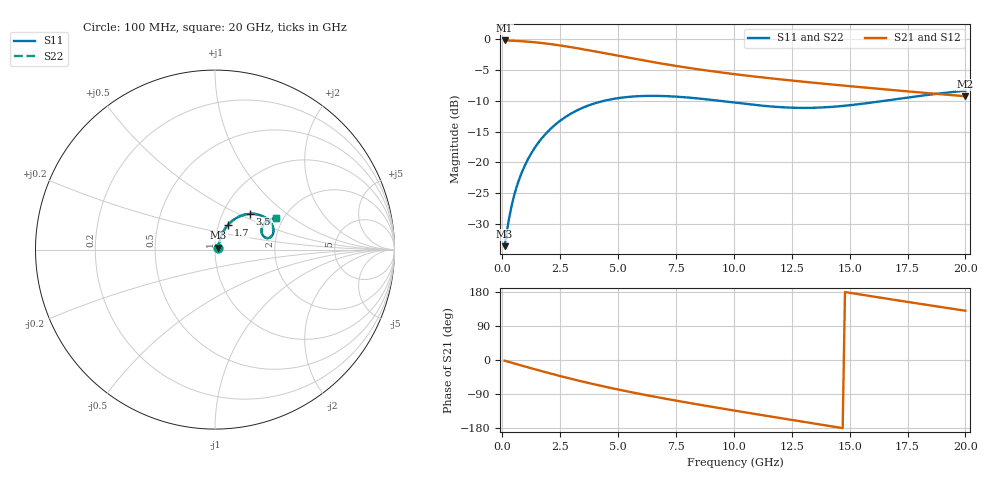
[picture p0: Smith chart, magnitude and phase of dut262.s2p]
! Touchstone file exported from HFSS 2024.1.0
!  File:  C:/UserFiles/LocalFiles/RDL_TSV_Batchsim/temp_RDL_TSV_262_1779459632.aedt
!  Generated:  10:52:00 PM May 22, 2026
!  Design:  RDL_TSV
!  Project:  temp_RDL_TSV_262_1779459632
!  Setup:  Setup1
!  Solution:  Sweep
! Variables:
!  dtsv = 5.09um
!  hbump = 3um
!  htsv = 69.68um
!  ldown = 684.75um
!  lrdl = 366.11um
!  p = 40
!  p1 = 44.39um
!  rhole = 10um
!  subl = 3518.69um
!  t = 450um
!  tdown = 3.69um
!  trdl = 3.58um
!  viad = 10um
!  wdown = 18.98um
!  wrdl = 13.91um
!  xbump = 18um
# GHz S MA R 50.000000
! Terminal data exported
! Port[1] = TM1_1_T1
! Port[2] = TM1_4_T1
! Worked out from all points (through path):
!   200 points, 100 MHz to 20 GHz, reference 50 ohm
!   highest |S21| = -0.24 dB at 100 MHz (marker M1); lowest = -9.3 dB at 20 GHz (marker M2)
!   group delay of S21, straight-line fit = 30.5 ps
!   lowest |S11| = -33.6 dB at 100 MHz (marker M3), VSWR 1.04, Z = 51.9 + j1.03 ohm
!   |S11| at or under -10 dB: start of sweep to 4.418 GHz; 9.331 GHz to 16.54 GHz (7.214 GHz wide, 55.8 % of centre)
!   |S22| runs from -33.6 to -8.4 dB; largest |S21 - S12| = 2.4e-14
!   S11 on the Smith chart (normalised r, x): 100 MHz: 1.04, +0.02; 1.7 GHz: 1.11, +0.31; 3.5 GHz: 1.34, +0.58; 20 GHz: 1.83, +0.74
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0.1  0.02092 28.4  0.9732 -1.8  0.9732 -1.8  0.02085 28.4
! Gamma 0 0 0 0
! Port Impedance 50 0 50 0
0.3  0.03578 53.7  0.9706 -5.4  0.9706 -5.4  0.03562 53.6
0.4  0.04426 58.5  0.9689 -7.2  0.9689 -7.2  0.04404 58.5
0.5  0.05287 61.4  0.9671 -8.9  0.9671 -8.9  0.05261 61.5
0.7  0.07027 64.4  0.9628 -12.4  0.9628 -12.4  0.06992 64.5
1.1  0.1052 65.3  0.9517 -19.3  0.9517 -19.3  0.1047 65.4
1.7  0.1562 62.1  0.9281 -29.4  0.9281 -29.4  0.1556 62.3
2.1  0.1881 58.9  0.9084 -36.0  0.9084 -36.0  0.1875 59.0
2.6  0.2245 54.3  0.8805 -43.9  0.8805 -43.9  0.224 54.5
3.5  0.2784 45.7  0.825 -57.5  0.825 -57.5  0.2781 45.8
4.2  0.3088 39.2  0.7805 -67.3  0.7805 -67.3  0.3087 39.4
4.9  0.3294 33.3  0.7374 -76.6  0.7374 -76.6  0.3294 33.4
5.8  0.3433 26.7  0.6861 -87.8  0.6861 -87.8  0.3434 26.8
6.8  0.3456 20.7  0.6358 -99.4  0.6358 -99.4  0.3458 20.8
8.4  0.3305 14.3  0.5703 -116.7  0.5703 -116.7  0.3307 14.4
10.1  0.3039 12.2  0.5169 -134.2  0.5169 -134.2  0.3041 12.2
11.7  0.2829 14.5  0.4775 -150.2  0.4775 -150.2  0.2831 14.5
13.4  0.2769 20.1  0.4429 -167.0  0.4429 -167.0  0.277 20.0
15  0.2904 25.4  0.4147 177.3  0.4147 177.3  0.2903 25.3
16.7  0.3192 28.5  0.3879 160.9  0.3879 160.9  0.3191 28.5
18.4  0.3527 28.8  0.3637 144.8  0.3637 144.8  0.3525 28.7
20  0.3809 27.1  0.3435 130.0  0.3435 130.0  0.3806 27.1
